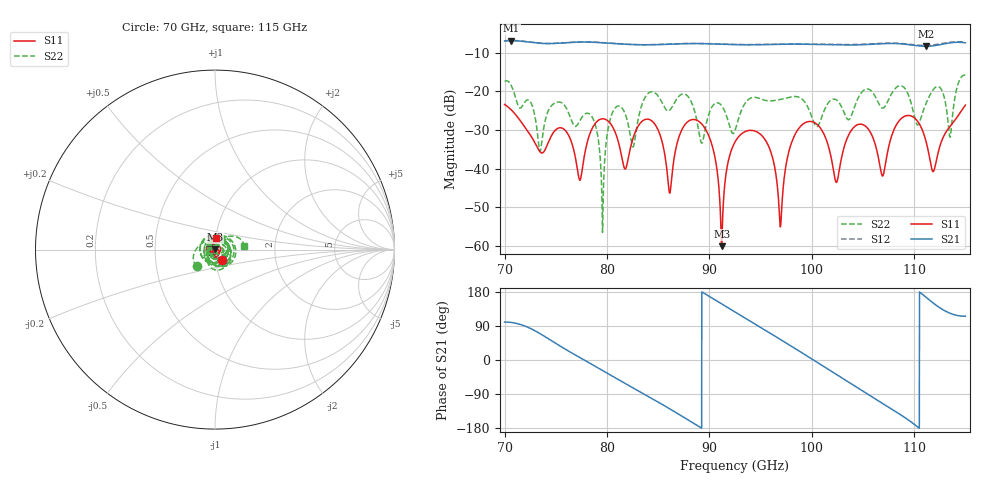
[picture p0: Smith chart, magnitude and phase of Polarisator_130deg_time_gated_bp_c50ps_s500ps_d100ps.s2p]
# Hz S RI R 1.000000
! Metas.Vna.Tools, 2.4.7898.19887
! Metas.Vna.Data, 2.4.7898.19873
! Created: UTC 2021.09.30 14:30:59
! FREQ  re:S1,1  im:S1,1  re:S2,1  im:S2,1  re:S1,2  im:S1,2  re:S2,2  im:S2,2
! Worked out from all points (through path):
!   2251 points, 70 GHz to 115 GHz, reference 1 ohm
!   highest |S21| = -6.90 dB at 70.66 GHz (marker M1); lowest = -8.4 dB at 111.1 GHz (marker M2)
!   lowest |S11| = -60.1 dB at 91.2 GHz (marker M3), VSWR 1.00, Z = 1 + j0.00195 ohm
!   |S11| at or under -10 dB: start of sweep to end of sweep
!   |S22| runs from -56.5 to -15.8 dB; largest |S21 - S12| = 0.063
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7e10  0.0369 -0.0566  -0.0785 0.4415  -0.0855 0.443  -0.0983 -0.0912
7.066e10  0.0239 -0.0521  -0.0712 0.4464  -0.0782 0.4481  -0.1161 -0.0201
7.346e10  -0.0133 -0.00974  0.1458 0.3919  0.1419 0.3949  -0.0119 -0.0116
7.75e10  0.0083 -0.000178  0.4328 0.0308  0.4343 0.0322  -0.00122 0.0451
7.88e10  -0.0137 -0.0351  0.414 -0.1176  0.4164 -0.1161  0.035 -0.0172
7.956e10  -0.0378 -0.0228  0.3764 -0.1971  0.3792 -0.1955  -0.00138 -0.000578
8.07e10  -0.0303 0.00916  0.2915 -0.2954  0.2949 -0.2938  0.0555 0.0185
8.254e10  -0.0197 -0.0149  0.1137 -0.3861  0.1172 -0.3857  -0.0187 0.00369
8.5e10  -0.0124 0.0289  -0.1447 -0.375  -0.1429 -0.3774  -0.0194 -0.0844
8.612e10  0.00457 -0.00152  -0.2549 -0.3171  -0.2543 -0.3203  -0.0207 0.0529
8.942e10  -0.00412 0.0353  -0.4132 0.0204  -0.4145 0.019  0.0103 0.0225
9.12e10  -0.000202 0.000973  -0.3447 0.2158  -0.3467 0.2156  -0.034 -0.0555
9.25e10  -0.00626 0.0212  -0.2404 0.3217  -0.2436 0.3219  0.0211 0.0229
9.544e10  0.00986 -0.0215  0.0782 0.395  0.0732 0.3979  0.0149 0.075
9.694e10  -0.000981 0.00147  0.2387 0.3293  0.2358 0.3337  -0.0108 -0.0779
1e11  -0.011 -0.039  0.4043 0.0196  0.4077 0.0227  0.0161 -0.0439
1.0238e11  -0.00433 -0.00505  0.3147 -0.244  0.3223 -0.2422  0.0748 -0.0216
1.0434e11  -0.0211 -0.0295  0.1268 -0.3775  0.1393 -0.3792  0.0124 0.0709
1.075e11  -0.00637 -0.0178  -0.2365 -0.3424  -0.2236 -0.3561  0.0053 0.0781
1.1114e11  -0.0142 0.018  -0.3706 0.0931  -0.3867 0.0659  0.0636 0.0264
1.1352e11  -0.0338 0.0105  -0.2319 0.3551  -0.2817 0.3266  -0.0186 0.0177
1.15e11  0.00535 0.066  -0.1821 0.3823  -0.2398 0.3587  0.1599 0.0215
